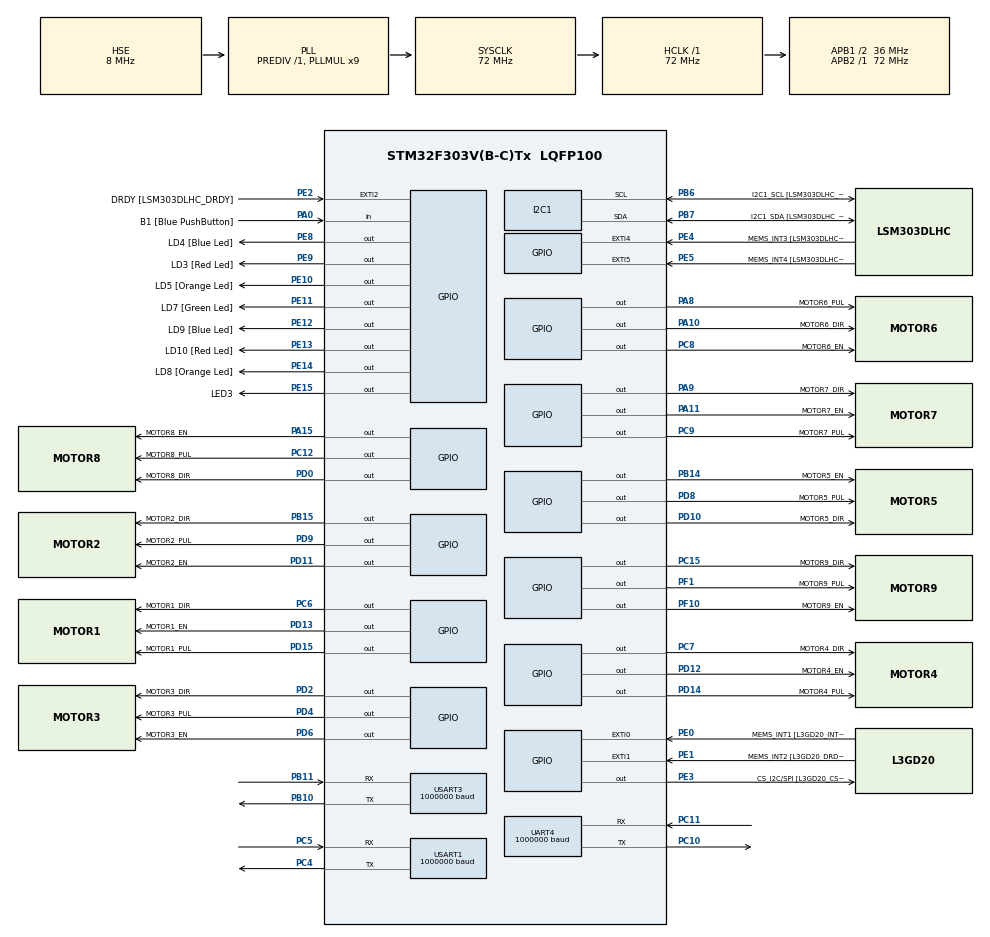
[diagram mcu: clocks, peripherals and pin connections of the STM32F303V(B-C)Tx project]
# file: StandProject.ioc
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Dma.I2C1_RX.2.Direction=DMA_PERIPH_TO_MEMORY
Dma.I2C1_RX.2.Instance=DMA1_Channel7
Dma.I2C1_RX.2.MemDataAlignment=DMA_MDATAALIGN_BYTE
Dma.I2C1_RX.2.MemInc=DMA_MINC_ENABLE
Dma.I2C1_RX.2.Mode=DMA_NORMAL
Dma.I2C1_RX.2.PeriphDataAlignment=DMA_PDATAALIGN_BYTE
Dma.I2C1_RX.2.PeriphInc=DMA_PINC_DISABLE
Dma.I2C1_RX.2.Priority=DMA_PRIORITY_LOW
Dma.I2C1_TX.3.Direction=DMA_MEMORY_TO_PERIPH
Dma.I2C1_TX.3.Instance=DMA1_Channel6
Dma.I2C1_TX.3.MemDataAlignment=DMA_MDATAALIGN_BYTE
Dma.I2C1_TX.3.MemInc=DMA_MINC_ENABLE
Dma.I2C1_TX.3.Mode=DMA_NORMAL
Dma.I2C1_TX.3.PeriphDataAlignment=DMA_PDATAALIGN_BYTE
Dma.I2C1_TX.3.PeriphInc=DMA_PINC_DISABLE
Dma.I2C1_TX.3.Priority=DMA_PRIORITY_LOW
Dma.Request0=USART1_TX
Dma.Request1=USART1_RX
Dma.Request2=I2C1_RX
Dma.Request3=I2C1_TX
Dma.Request4=USART3_RX
Dma.Request5=USART3_TX
Dma.Request6=UART4_RX
Dma.Request7=UART4_TX
Dma.UART4_RX.6.Direction=DMA_PERIPH_TO_MEMORY
Dma.UART4_RX.6.Instance=DMA2_Channel3
Dma.UART4_RX.6.MemDataAlignment=DMA_MDATAALIGN_BYTE
Dma.UART4_RX.6.MemInc=DMA_MINC_ENABLE
Dma.UART4_RX.6.Mode=DMA_CIRCULAR
Dma.UART4_RX.6.PeriphDataAlignment=DMA_PDATAALIGN_BYTE
Dma.UART4_RX.6.PeriphInc=DMA_PINC_DISABLE
Dma.UART4_RX.6.Priority=DMA_PRIORITY_LOW
Dma.UART4_TX.7.Direction=DMA_MEMORY_TO_PERIPH
Dma.UART4_TX.7.Instance=DMA2_Channel5
Dma.UART4_TX.7.MemDataAlignment=DMA_MDATAALIGN_BYTE
Dma.UART4_TX.7.MemInc=DMA_MINC_ENABLE
Dma.UART4_TX.7.Mode=DMA_NORMAL
Dma.UART4_TX.7.PeriphDataAlignment=DMA_PDATAALIGN_BYTE
Dma.UART4_TX.7.PeriphInc=DMA_PINC_DISABLE
Dma.UART4_TX.7.Priority=DMA_PRIORITY_LOW
Dma.USART1_RX.1.Direction=DMA_PERIPH_TO_MEMORY
Dma.USART1_RX.1.Instance=DMA1_Channel5
Dma.USART1_RX.1.MemDataAlignment=DMA_MDATAALIGN_BYTE
Dma.USART1_RX.1.MemInc=DMA_MINC_ENABLE
Dma.USART1_RX.1.Mode=DMA_CIRCULAR
Dma.USART1_RX.1.PeriphDataAlignment=DMA_PDATAALIGN_BYTE
Dma.USART1_RX.1.PeriphInc=DMA_PINC_DISABLE
Dma.USART1_RX.1.Priority=DMA_PRIORITY_LOW
Dma.USART1_TX.0.Direction=DMA_MEMORY_TO_PERIPH
Dma.USART1_TX.0.Instance=DMA1_Channel4
Dma.USART1_TX.0.MemDataAlignment=DMA_MDATAALIGN_BYTE
Dma.USART1_TX.0.MemInc=DMA_MINC_ENABLE
Dma.USART1_TX.0.Mode=DMA_NORMAL
Dma.USART1_TX.0.PeriphDataAlignment=DMA_PDATAALIGN_BYTE
Dma.USART1_TX.0.PeriphInc=DMA_PINC_DISABLE
Dma.USART1_TX.0.Priority=DMA_PRIORITY_LOW
Dma.USART3_RX.4.Direction=DMA_PERIPH_TO_MEMORY
Dma.USART3_RX.4.Instance=DMA1_Channel3
Dma.USART3_RX.4.MemDataAlignment=DMA_MDATAALIGN_BYTE
Dma.USART3_RX.4.MemInc=DMA_MINC_ENABLE
Dma.USART3_RX.4.Mode=DMA_CIRCULAR
Dma.USART3_RX.4.PeriphDataAlignment=DMA_PDATAALIGN_BYTE
Dma.USART3_RX.4.PeriphInc=DMA_PINC_DISABLE
Dma.USART3_RX.4.Priority=DMA_PRIORITY_LOW
Dma.USART3_TX.5.Direction=DMA_MEMORY_TO_PERIPH
Dma.USART3_TX.5.Instance=DMA1_Channel2
Dma.USART3_TX.5.MemDataAlignment=DMA_MDATAALIGN_BYTE
Dma.USART3_TX.5.MemInc=DMA_MINC_ENABLE
Dma.USART3_TX.5.Mode=DMA_NORMAL
Dma.USART3_TX.5.PeriphDataAlignment=DMA_PDATAALIGN_BYTE
Dma.USART3_TX.5.PeriphInc=DMA_PINC_DISABLE
Dma.USART3_TX.5.Priority=DMA_PRIORITY_LOW
Mcu.Family=STM32F3
Mcu.Name=STM32F303V(B-C)Tx
Mcu.Package=LQFP100
NVIC.DMA1_Channel2_IRQn=true\:0\:0\:false\:false\:true\:false\:true
NVIC.DMA1_Channel3_IRQn=true\:0\:0\:false\:false\:true\:false\:true
NVIC.DMA1_Channel4_IRQn=true\:0\:0\:false\:false\:true\:false\:true
NVIC.DMA1_Channel5_IRQn=true\:0\:0\:false\:false\:true\:false\:true
NVIC.DMA1_Channel6_IRQn=true\:0\:0\:false\:false\:true\:false\:true
NVIC.DMA1_Channel7_IRQn=true\:0\:0\:false\:false\:true\:false\:true
NVIC.DMA2_Channel3_IRQn=true\:0\:0\:false\:false\:true\:false\:true
NVIC.DMA2_Channel5_IRQn=true\:0\:0\:false\:false\:true\:false\:true
NVIC.I2C1_EV_IRQn=true\:0\:0\:false\:false\:true\:true\:true
NVIC.PriorityGroup=NVIC_PRIORITYGROUP_0
NVIC.TIM2_IRQn=true\:0\:0\:false\:false\:true\:true\:true
NVIC.TIM3_IRQn=true\:0\:0\:false\:false\:true\:true\:true
NVIC.UART4_IRQn=true\:0\:0\:false\:false\:true\:true\:true
NVIC.USART1_IRQn=true\:0\:0\:false\:false\:true\:true\:true
NVIC.USART3_IRQn=true\:0\:0\:false\:false\:true\:true\:true
PA0.GPIO_Label=B1 [Blue PushButton]
PA0.GPIO_Mode=GPIO_MODE_INPUT
PA0.GPIO_PuPd=GPIO_NOPULL
PA0.Signal=GPIO_Input
PA10.GPIO_Label=MOTOR6_DIR
PA10.GPIO_PuPd=GPIO_NOPULL
PA10.Signal=GPIO_Output
PA11.GPIO_Label=MOTOR7_EN
PA11.GPIO_PuPd=GPIO_NOPULL
PA11.Signal=GPIO_Output
PA13.GPIO_Label=SWDIO
PA13.Mode=Trace_Asynchronous_SW
PA13.Signal=SYS_JTMS-SWDIO
PA14.GPIO_Label=SWCLK
PA14.Mode=Trace_Asynchronous_SW
PA14.Signal=SYS_JTCK-SWCLK
PA15.GPIO_Label=MOTOR8_EN
PA15.GPIO_PuPd=GPIO_NOPULL
PA15.GPIO_Speed=GPIO_SPEED_FREQ_LOW
PA15.PinState=GPIO_PIN_RESET
PA15.Signal=GPIO_Output
PA8.GPIO_Label=MOTOR6_PUL
PA8.GPIO_PuPd=GPIO_NOPULL
PA8.Signal=GPIO_Output
PA9.GPIO_Label=MOTOR7_DIR
PA9.GPIO_PuPd=GPIO_NOPULL
PA9.Signal=GPIO_Output
PB10.Mode=Asynchronous
PB10.Signal=USART3_TX
PB11.Mode=Asynchronous
PB11.Signal=USART3_RX
PB14.GPIO_Label=MOTOR5_EN
PB14.GPIO_PuPd=GPIO_NOPULL
PB14.Signal=GPIO_Output
PB15.GPIO_Label=MOTOR2_DIR
PB15.GPIO_PuPd=GPIO_NOPULL
PB15.Signal=GPIO_Output
PB3.GPIO_Label=SWO
PB3.Mode=Trace_Asynchronous_SW
PB3.Signal=SYS_JTDO-TRACESWO
PB6.GPIO_FM6=__NULL
PB6.GPIO_Label=I2C1_SCL [LSM303DLHC_SCL]
PB6.GPIO_Mode=GPIO_MODE_AF_OD
PB6.GPIO_PuPd=GPIO_NOPULL
PB6.GPIO_Speed=GPIO_SPEED_FREQ_LOW
PB6.Mode=I2C
PB6.Signal=I2C1_SCL
PB7.GPIO_FM7=__NULL
PB7.GPIO_Label=I2C1_SDA [LSM303DLHC_SDA]
PB7.GPIO_Mode=GPIO_MODE_AF_OD
PB7.GPIO_PuPd=GPIO_NOPULL
PB7.GPIO_Speed=GPIO_SPEED_FREQ_LOW
PB7.Mode=I2C
PB7.Signal=I2C1_SDA
PC10.Mode=Asynchronous
PC10.Signal=UART4_TX
PC11.Mode=Asynchronous
PC11.Signal=UART4_RX
PC12.GPIO_Label=MOTOR8_PUL
PC12.Signal=GPIO_Output
PC15-OSC32_OUT.GPIO_Label=MOTOR9_DIR
PC15-OSC32_OUT.Signal=GPIO_Output
PC4.Mode=Asynchronous
PC4.Signal=USART1_TX
PC5.Mode=Asynchronous
PC5.Signal=USART1_RX
PC6.GPIO_Label=MOTOR1_DIR
PC6.GPIO_PuPd=GPIO_NOPULL
PC6.GPIO_Speed=GPIO_SPEED_FREQ_LOW
PC6.Signal=GPIO_Output
PC7.GPIO_Label=MOTOR4_DIR
PC7.GPIO_PuPd=GPIO_NOPULL
PC7.GPIO_Speed=GPIO_SPEED_FREQ_LOW
PC7.Signal=GPIO_Output
PC8.GPIO_Label=MOTOR6_EN
PC8.GPIO_PuPd=GPIO_NOPULL
PC8.GPIO_Speed=GPIO_SPEED_FREQ_LOW
PC8.Signal=GPIO_Output
PC9.GPIO_Label=MOTOR7_PUL
PC9.GPIO_PuPd=GPIO_NOPULL
PC9.GPIO_Speed=GPIO_SPEED_FREQ_LOW
PC9.Signal=GPIO_Output
PD0.GPIO_Label=MOTOR8_DIR
PD0.GPIO_PuPd=GPIO_PULLUP
PD0.Signal=GPIO_Output
PD10.GPIO_Label=MOTOR5_DIR
PD10.GPIO_PuPd=GPIO_PULLUP
PD10.GPIO_Speed=GPIO_SPEED_FREQ_LOW
PD10.Signal=GPIO_Output
PD11.GPIO_Label=MOTOR2_EN
PD11.GPIO_PuPd=GPIO_PULLUP
PD11.GPIO_Speed=GPIO_SPEED_FREQ_LOW
PD11.Signal=GPIO_Output
PD12.GPIO_Label=MOTOR4_EN
PD12.GPIO_PuPd=GPIO_PULLUP
PD12.Signal=GPIO_Output
PD13.GPIO_Label=MOTOR1_EN
PD13.GPIO_PuPd=GPIO_PULLUP
PD13.Signal=GPIO_Output
PD14.GPIO_Label=MOTOR4_PUL
PD14.GPIO_PuPd=GPIO_PULLUP
PD14.Signal=GPIO_Output
PD15.GPIO_Label=MOTOR1_PUL
PD15.GPIO_PuPd=GPIO_PULLUP
PD15.Signal=GPIO_Output
PD2.GPIO_Label=MOTOR3_DIR
PD2.GPIO_PuPd=GPIO_PULLUP
PD2.GPIO_Speed=GPIO_SPEED_FREQ_LOW
PD2.Signal=GPIO_Output
PD4.GPIO_Label=MOTOR3_PUL
PD4.GPIO_PuPd=GPIO_PULLUP
PD4.Signal=GPIO_Output
PD6.GPIO_Label=MOTOR3_EN
PD6.GPIO_PuPd=GPIO_PULLUP
PD6.Signal=GPIO_Output
PD8.GPIO_Label=MOTOR5_PUL
PD8.GPIO_PuPd=GPIO_PULLUP
PD8.Signal=GPIO_Output
PD9.GPIO_Label=MOTOR2_PUL
PD9.GPIO_PuPd=GPIO_PULLUP
PD9.Signal=GPIO_Output
PE0.GPIO_Label=MEMS_INT1 [L3GD20_INT1]
PE0.GPIO_ModeDefaultEXTI=GPIO_MODE_EVT_RISING
PE0.GPIO_PuPd=GPIO_NOPULL
PE0.Signal=GPXTI0
PE1.GPIO_Label=MEMS_INT2 [L3GD20_DRDY/INT2]
PE1.GPIO_ModeDefaultEXTI=GPIO_MODE_EVT_RISING
PE1.GPIO_PuPd=GPIO_NOPULL
PE1.Signal=GPXTI1
PE10.GPIO_Label=LD5 [Orange Led]
PE10.GPIO_ModeDefaultOutputPP=GPIO_MODE_OUTPUT_PP
PE10.GPIO_PuPd=GPIO_NOPULL
PE10.GPIO_Speed=GPIO_SPEED_FREQ_LOW
PE10.Signal=GPIO_Output
PE11.GPIO_Label=LD7 [Green Led]
PE11.GPIO_ModeDefaultOutputPP=GPIO_MODE_OUTPUT_PP
PE11.GPIO_PuPd=GPIO_NOPULL
PE11.GPIO_Speed=GPIO_SPEED_FREQ_LOW
PE11.Signal=GPIO_Output
PE12.GPIO_Label=LD9 [Blue Led]
PE12.GPIO_ModeDefaultOutputPP=GPIO_MODE_OUTPUT_PP
PE12.GPIO_PuPd=GPIO_NOPULL
PE12.GPIO_Speed=GPIO_SPEED_FREQ_LOW
PE12.Signal=GPIO_Output
PE13.GPIO_Label=LD10 [Red Led]
PE13.GPIO_ModeDefaultOutputPP=GPIO_MODE_OUTPUT_PP
PE13.GPIO_PuPd=GPIO_NOPULL
PE13.GPIO_Speed=GPIO_SPEED_FREQ_LOW
PE13.Signal=GPIO_Output
PE14.GPIO_Label=LD8 [Orange Led]
PE14.GPIO_ModeDefaultOutputPP=GPIO_MODE_OUTPUT_PP
PE14.GPIO_PuPd=GPIO_NOPULL
PE14.GPIO_Speed=GPIO_SPEED_FREQ_LOW
PE14.Signal=GPIO_Output
PE15.GPIO_Label=LED3
PE15.GPIO_ModeDefaultOutputPP=GPIO_MODE_OUTPUT_PP
PE15.GPIO_PuPd=GPIO_NOPULL
PE15.GPIO_Speed=GPIO_SPEED_FREQ_LOW
PE15.Signal=GPIO_Output
PE2.GPIO_Label=DRDY [LSM303DLHC_DRDY]
PE2.GPIO_ModeDefaultEXTI=GPIO_MODE_EVT_RISING
PE2.GPIO_PuPd=GPIO_NOPULL
PE2.Signal=GPXTI2
PE3.GPIO_Label=CS_I2C/SPI [L3GD20_CS_I2C/SPI]
PE3.GPIO_ModeDefaultOutputPP=GPIO_MODE_OUTPUT_PP
PE3.GPIO_PuPd=GPIO_NOPULL
PE3.GPIO_Speed=GPIO_SPEED_FREQ_LOW
PE3.Signal=GPIO_Output
PE4.GPIO_Label=MEMS_INT3 [LSM303DLHC_INT1]
PE4.GPIO_ModeDefaultEXTI=GPIO_MODE_EVT_RISING
PE4.GPIO_PuPd=GPIO_NOPULL
PE4.Signal=GPXTI4
PE5.GPIO_Label=MEMS_INT4 [LSM303DLHC_INT2]
PE5.GPIO_ModeDefaultEXTI=GPIO_MODE_EVT_RISING
PE5.GPIO_PuPd=GPIO_NOPULL
PE5.Signal=GPXTI5
PE8.GPIO_Label=LD4 [Blue Led]
PE8.GPIO_ModeDefaultOutputPP=GPIO_MODE_OUTPUT_PP
PE8.GPIO_PuPd=GPIO_NOPULL
PE8.GPIO_Speed=GPIO_SPEED_FREQ_LOW
PE8.Signal=GPIO_Output
PE9.GPIO_Label=LD3 [Red Led]
PE9.GPIO_ModeDefaultOutputPP=GPIO_MODE_OUTPUT_PP
PE9.GPIO_PuPd=GPIO_NOPULL
PE9.GPIO_Speed=GPIO_SPEED_FREQ_LOW
PE9.Signal=GPIO_Output
PF0-OSC_IN.GPIO_Label=OSC_IN
PF0-OSC_IN.Mode=HSE-External-Clock-Source
PF0-OSC_IN.Signal=RCC_OSC_IN
PF1-OSC_OUT.GPIO_Label=MOTOR9_PUL
PF1-OSC_OUT.Signal=GPIO_Output
PF10.GPIO_Label=MOTOR9_EN
PF10.Signal=GPIO_Output
ProjectManager.HeapSize=0x200
ProjectManager.StackSize=0x400
ProjectManager.TargetToolchain=TrueSTUDIO
RCC.AHBFreq_Value=72000000
RCC.APB1CLKDivider=RCC_HCLK_DIV2
RCC.APB1Freq_Value=36000000
RCC.APB1TimFreq_Value=72000000
RCC.APB2Freq_Value=72000000
RCC.APB2TimFreq_Value=72000000
RCC.CortexFreq_Value=72000000
RCC.HCLKFreq_Value=72000000
RCC.HSE_VALUE=8000000
RCC.HSI_VALUE=8000000
RCC.LSE_VALUE=32768
RCC.PLLMUL=RCC_PLL_MUL9
RCC.PLLSourceVirtual=RCC_PLLSOURCE_HSE
RCC.SYSCLKFreq_VALUE=72000000
RCC.SYSCLKSourceVirtual=RCC_SYSCLKSOURCE_PLLCLK
RCC.USBFreq_Value=72000000
RCC.Usart1ClockSelection=RCC_USART1CLKSOURCE_SYSCLK
RCC.Usart2ClockSelection=RCC_USART2CLKSOURCE_SYSCLK
TIM2.Period=4294967295
TIM2.Prescaler=8
TIM3.Period=4999
TIM3.Prescaler=71
UART4.BaudRate=1000000
USART1.BaudRate=1000000
USART1.VirtualMode-Asynchronous=VM_ASYNC
USART3.BaudRate=1000000
USART3.VirtualMode-Asynchronous=VM_ASYNC
VP_TIM2_VS_ClockSourceINT.Mode=Internal
VP_TIM3_VS_ClockSourceINT.Mode=Internal
board=STM32F3DISCOVERY

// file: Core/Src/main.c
/* USER CODE BEGIN Header */
/**
 ******************************************************************************
 * @file           : main.c
 * @brief          : Main program body
 ******************************************************************************
 * @attention
 *
 * <h2><center>&copy; Copyright (c) 2019 STMicroelectronics.
 * All rights reserved.</center></h2>
 *
 * This software component is licensed by ST under BSD 3-Clause license,
 * the "License"; You may not use this file except in compliance with the
 * License. You may obtain a copy of the License at:
 *                        opensource.org/licenses/BSD-3-Clause
 *
 ******************************************************************************
 */
/* USER CODE END Header */

#include "main.h"
#include "dma.h"
#include "i2c.h"
#include "tim.h"
#include "usart.h"
#include "gpio.h"

/* USER CODE BEGIN Includes */
#include "stdlib.h"
#include "stdio.h"
#include "string.h"
#include "stm32f3xx.h"
#include "eeprom.h"
#include "div268n.h"
#include "serial.h"
#include "dataparse.h"
/* USER CODE END Includes */

void SystemClock_Config(void);

/* USER CODE BEGIN 0 */
void sendData(uint8_t eeprom)
{
	int32_t TestMas[9];
	for (int i = 0; i < 9; i++)
	{
		TestMas[i] = DIV268N_ShowSteps(i);
	}
	int added;
	char buf[128];
	added = sprintf(buf, "EPD %ld %ld %ld %ld %ld %ld %ld %ld %ld\r\n",
			TestMas[0], TestMas[1], TestMas[2], TestMas[3], TestMas[4],
			TestMas[5], TestMas[6], TestMas[7], TestMas[8]);
	uint32_t timeout = TIM2->CNT + 10000 * 8;
	while (HAL_UART_Transmit_DMA(&huart4, (uint8_t*) buf, added) != HAL_OK
			&& TIM2->CNT < timeout)
	{
	}
	if (eeprom == 1)
		EEPROM_WriteSteps(TestMas);
}

void checkUART1(char BufChar[], int32_t inputMas[])
{
	if (SERIAL_UART1_BytesAvailable())
	{
		int pointer = 0;
		BufChar[pointer] = SERIAL_UART1_GetByte();
		pointer = 1;
		TIM2->CNT = 0x00000000;
		uint32_t timeout = TIM2->CNT + 10000 * 8;
		while ((BufChar[pointer - 1] != '\\') && (TIM2->CNT < timeout))
		{
			if (BufChar[0] == 'r' || BufChar[0] == 'l' || BufChar[0] == 'c'
					|| BufChar[0] == 'Z' || BufChar[0] == 'B')
				HAL_Delay(10);
			while (SERIAL_UART1_BytesAvailable())
			{
				BufChar[pointer] = SERIAL_UART1_GetByte();
				pointer++;
			}
		}
		if ((TIM2->CNT > timeout)
				&& !(BufChar[0] == 'r' || BufChar[0] == 'l' || BufChar[0] == 'c'
						|| BufChar[0] == 'Z' || BufChar[0] == 'B'))
		{
			HAL_UART_Transmit(&huart1, (uint8_t*) "T", 1, HAL_MAX_DELAY);
			HAL_UART_Transmit(&huart4, (uint8_t*) "Wrong string!\r\n", 15,
			HAL_MAX_DELAY);
		}
		else
		{
			if (BufChar[0] != 'H')
			{
				BufChar[pointer] = '\r';
				BufChar[pointer + 1] = '\n';
				HAL_UART_Transmit_DMA(&huart4, (uint8_t*) BufChar, pointer + 2);
			}
			USER_Data_Parse_Analys(BufChar, pointer, inputMas);
			if (BufChar[0] == 'H')
				sendData(0);
			else
				sendData(1);
		}
	}
}

void checkUART4(char BufChar[], int32_t inputMas[])
{
	if (SERIAL_UART4_BytesAvailable())
	{
		int pointer = 0;
		BufChar[pointer] = SERIAL_UART4_GetByte();
		pointer = 1;
		TIM2->CNT = 0x00000000;
		uint32_t timeout = TIM2->CNT + 10000 * 8;
		while ((BufChar[pointer - 1] != '\\') && (TIM2->CNT < timeout))
		{
			if (BufChar[0] == 'r' || BufChar[0] == 'l' || BufChar[0] == 'c'
					|| BufChar[0] == 'Z' || BufChar[0] == 'B')
				HAL_Delay(10);
			while (SERIAL_UART4_BytesAvailable())
			{
				if (pointer >= 128)
					pointer = 0;
				BufChar[pointer] = SERIAL_UART4_GetByte();
				pointer++;
			}
		}
		if ((TIM2->CNT > timeout)
				&& !(BufChar[0] == 'r' || BufChar[0] == 'l' || BufChar[0] == 'c'
						|| BufChar[0] == 'Z' || BufChar[0] == 'B'))
		{
			HAL_UART_Transmit(&huart1, (uint8_t*) "T", 1, HAL_MAX_DELAY);
			HAL_UART_Transmit(&huart4, (uint8_t*) "Wrong string!\r\n", 15,
			HAL_MAX_DELAY);
		}
		else
		{
			BufChar[pointer] = '\r';
			BufChar[pointer + 1] = '\n';
			HAL_UART_Transmit_DMA(&huart4, (uint8_t*) BufChar, pointer + 2);
			USER_Data_Parse_Analys(BufChar, pointer, inputMas);
			sendData(1);
		}
	}
}

void loadSteps()
{
	int32_t temp[9];
	EEPROM_ReadSteps(temp);
	for (int i = 0; i < 9; i++)
		DIV268N_WriteSteps(i, temp[i]);
}
/* USER CODE END 0 */

int main(void)
{

	/* MCU Configuration--------------------------------------------------------*/

	/* Reset of all peripherals, Initializes the Flash interface and the Systick. */
	HAL_Init();

	/* Configure the system clock */
	SystemClock_Config();

	/* Initialize all configured peripherals */
	MX_GPIO_Init();
	MX_DMA_Init();
	MX_TIM2_Init();
	MX_USART1_UART_Init();
	MX_I2C1_Init();
	MX_USART3_UART_Init();
	MX_TIM3_Init();
	MX_UART4_Init();
	/* USER CODE BEGIN 2 */
	//Инициализация переферии, библиотек, запуск таймеров, DMA
	HAL_TIM_Base_Start(&htim2);
	HAL_TIM_Base_Start_IT(&htim2);
	char BufChar[UART_BUFFER_SIZE];
	HAL_UART_Receive_DMA(&huart1, (uint8_t*) UART1_Buffer, UART_BUFFER_SIZE);
	HAL_UART_Receive_DMA(&huart4, (uint8_t*) UART4_Buffer, UART_BUFFER_SIZE);
	DIV268N_Init();
	loadSteps();
	int32_t inputMas[10] =
	{ 0, 0, 0, 0, 0, 0, 0, 0, 0, 0 };
	HAL_UART_Transmit(&huart4, (uint8_t*) "Controller started!\r\n", 21,
	HAL_MAX_DELAY);
	sendData(0);
	/* USER CODE END 2 */

	/* Infinite loop */
	while (1)
	{

		/* USER CODE BEGIN 3 */
		checkUART4(BufChar, inputMas);
		checkUART1(BufChar, inputMas);
	}
	/* USER CODE END 3 */
}

void SystemClock_Config(void)
{
	RCC_OscInitTypeDef RCC_OscInitStruct =
	{ 0 };
	RCC_ClkInitTypeDef RCC_ClkInitStruct =
	{ 0 };
	RCC_PeriphCLKInitTypeDef PeriphClkInit =
	{ 0 };

	/** Initializes the CPU, AHB and APB busses clocks
	 */
	RCC_OscInitStruct.OscillatorType = RCC_OSCILLATORTYPE_HSI
			| RCC_OSCILLATORTYPE_HSE;
	RCC_OscInitStruct.HSEState = RCC_HSE_BYPASS;
	RCC_OscInitStruct.HSEPredivValue = RCC_HSE_PREDIV_DIV1;
	RCC_OscInitStruct.HSIState = RCC_HSI_ON;
	RCC_OscInitStruct.HSICalibrationValue = RCC_HSICALIBRATION_DEFAULT;
	RCC_OscInitStruct.PLL.PLLState = RCC_PLL_ON;
	RCC_OscInitStruct.PLL.PLLSource = RCC_PLLSOURCE_HSE;
	RCC_OscInitStruct.PLL.PLLMUL = RCC_PLL_MUL9;
	if (HAL_RCC_OscConfig(&RCC_OscInitStruct) != HAL_OK)
	{
		Error_Handler();
	}
	/** Initializes the CPU, AHB and APB busses clocks
	 */
	RCC_ClkInitStruct.ClockType = RCC_CLOCKTYPE_HCLK | RCC_CLOCKTYPE_SYSCLK
			| RCC_CLOCKTYPE_PCLK1 | RCC_CLOCKTYPE_PCLK2;
	RCC_ClkInitStruct.SYSCLKSource = RCC_SYSCLKSOURCE_PLLCLK;
	RCC_ClkInitStruct.AHBCLKDivider = RCC_SYSCLK_DIV1;
	RCC_ClkInitStruct.APB1CLKDivider = RCC_HCLK_DIV2;
	RCC_ClkInitStruct.APB2CLKDivider = RCC_HCLK_DIV1;

	if (HAL_RCC_ClockConfig(&RCC_ClkInitStruct, FLASH_LATENCY_2) != HAL_OK)
	{
		Error_Handler();
	}
	PeriphClkInit.PeriphClockSelection = RCC_PERIPHCLK_USART1
			| RCC_PERIPHCLK_USART3 | RCC_PERIPHCLK_UART4 | RCC_PERIPHCLK_I2C1;
	PeriphClkInit.Usart1ClockSelection = RCC_USART1CLKSOURCE_SYSCLK;
	PeriphClkInit.Usart3ClockSelection = RCC_USART3CLKSOURCE_PCLK1;
	PeriphClkInit.Uart4ClockSelection = RCC_UART4CLKSOURCE_PCLK1;
	PeriphClkInit.I2c1ClockSelection = RCC_I2C1CLKSOURCE_HSI;
	if (HAL_RCCEx_PeriphCLKConfig(&PeriphClkInit) != HAL_OK)
	{
		Error_Handler();
	}
}

void Error_Handler(void)
{
}

/************************ (C) COPYRIGHT STMicroelectronics *****END OF FILE****/
